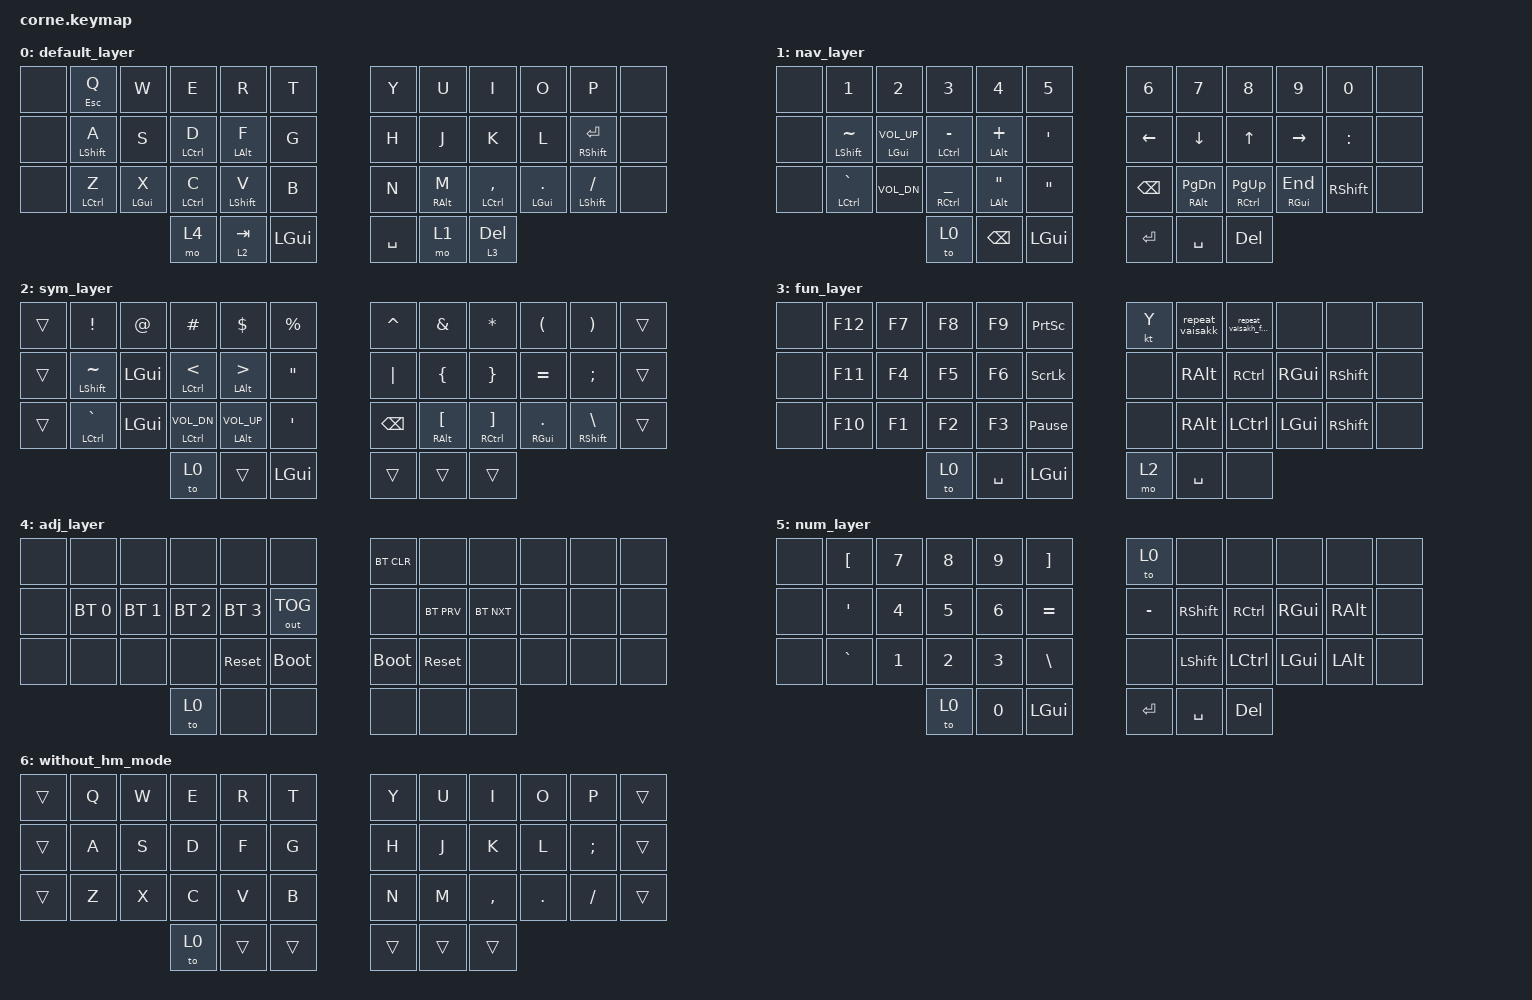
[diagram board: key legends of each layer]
/*
 * Copyright (c) 2020 The ZMK Contributors
 *
 * SPDX-License-Identifier: MIT
 */

#include <behaviors.dtsi>
#include <dt-bindings/zmk/bt.h>
#include <dt-bindings/zmk/keys.h>
#include <dt-bindings/zmk/outputs.h>

#define BASE 0
#define NAV 1
#define NUM 2
#define FUN 3
#define ADJ 4

&caps_word { continue-list = <UNDERSCORE MINUS BACKSPACE N0 N1 N2 N3 N4 N5 N6 N7 N8 N9>; };

/ {
    behaviors {
        hm: homerow_mods {
            compatible = "zmk,behavior-hold-tap";
            label = "HOMEROW_MODS";
            #binding-cells = <2>;
            tapping-term-ms = <220>;
            quick_tap_ms = <0>;
            flavor = "tap-preferred";
            bindings = <&kp>, <&kp>;

            quick-tap-ms = <200>;
        };

        td_home: td_home {
            compatible = "zmk,behavior-tap-dance";
            label = "TD_HOME";
            #binding-cells = <0>;
            bindings = <&kp DOUBLE_QUOTES>, <&kp HOME>;
        };

        td_l12: td_l12 {
            compatible = "zmk,behavior-tap-dance";
            label = "TD_L12";
            #binding-cells = <0>;
            bindings = <&mo 2>, <&mo 1>;

            tapping-term-ms = <250>;
        };
    };

    combos {
        compatible = "zmk,combos";

        jkEsc {
            bindings = <&kp ESC>;
            key-positions = <19 20>;
        };

        to_fun_layer {
            bindings = <&to 3>;
            key-positions = <37 40>;
        };

        combo_to_nav {
            bindings = <&mo 1>;
            key-positions = <13 14>;
        };

        tosymlayer {
            bindings = <&mo 0>;
            key-positions = <38 39>;
        };

        backspace {
            bindings = <&kp BACKSPACE>;
            key-positions = <38 30>;
        };

        combo_to_sym_right {
            bindings = <&mo 2>;
            key-positions = <21 22>;
        };

        combo_to_sym_mid_r {
            bindings = <&mo 2>;
            key-positions = <21 20>;
        };

        combo_to_nav_mid_l {
            bindings = <&mo 1>;
            key-positions = <21 20>;
        };

        menukey {
            bindings = <&kp K_APPLICATION>;
            key-positions = <7 8>;
        };
    };

    macros {
        repeat_vaisakk: repeat_vaisakk {
            compatible = "zmk,behavior-macro";
            #binding-cells = <0>;
            bindings = <&kp V &kp A &kp I &kp S &kp A &kp K &kp H &kp SPACE &kp K &kp M &kp SPACE &kp V &kp A &kp I &kp S &kp A &kp K &kp H &kp SPACE &kp K &kp M &kp SPACE &kp V &kp A &kp I &kp S &kp A &kp K &kp H &kp SPACE &kp K &kp M &kp SPACE &kp V &kp A &kp I &kp S &kp A &kp K &kp H &kp SPACE &kp K &kp M &kp SPACE &kp V &kp A &kp I &kp S &kp A &kp K &kp H &kp SPACE &kp K &kp M &kp SPACE &kp V &kp A &kp I &kp S &kp A &kp K &kp H &kp SPACE &kp K &kp M &kp SPACE>;
            label = "REPEAT_VAISAKK";
            wait-ms = <60000>;
        };

        repeat_vaisakh_fast: repeat_vaisakh_fast {
            compatible = "zmk,behavior-macro";
            #binding-cells = <0>;
            bindings = <&kp V &kp A &kp I &kp S &kp A &kp K &kp H &kp SPACE &kp K &kp M &kp SPACE &kp V &kp A &kp I &kp S &kp A &kp K &kp H &kp SPACE &kp K &kp M &kp SPACE &kp V &kp A &kp I &kp S &kp A &kp K &kp H &kp SPACE &kp K &kp M &kp SPACE &kp V &kp A &kp I &kp S &kp A &kp K &kp H &kp SPACE &kp K &kp M &kp SPACE &kp V &kp A &kp I &kp S &kp A &kp K &kp H &kp SPACE &kp K &kp M &kp SPACE &kp V &kp A &kp I &kp S &kp A &kp K &kp H &kp SPACE &kp K &kp M &kp SPACE>;
            label = "REPEAT_VAISAKH_FAST";
            wait-ms = <1000>;
        };
    };

    keymap {
        compatible = "zmk,keymap";

        default_layer {
            bindings = <
&none  &mt ESCAPE Q      &kp W       &kp E        &kp R           &kp T       &kp Y      &kp U            &kp I            &kp O         &kp P                  &none
&none  &hm LEFT_SHIFT A  &kp S       &hm LCTRL D  &hm LEFT_ALT F  &kp G       &kp H      &kp J            &kp K            &kp L         &hm RIGHT_SHIFT ENTER  &none
&none  &hm LCTRL Z       &hm LGUI X  &hm LCTRL C  &hm LSHFT V     &kp B       &kp N      &hm RIGHT_ALT M  &hm LCTRL COMMA  &hm LGUI DOT  &hm LEFT_SHIFT FSLH    &none
                                     &mo 4        &lt 2 TAB       &kp LGUI    &kp SPACE  &mo 1            &lt 3 DEL
            >;
        };

        nav_layer {
            bindings = <
&none  &kp NUMBER_1      &kp NUMBER_2       &kp NUMBER_3          &kp NUMBER_4            &kp NUMBER_5         &kp NUMBER_6   &kp NUMBER_7         &kp NUMBER_8     &kp NUMBER_9  &kp NUMBER_0     &none
&none  &hm LSHIFT TILDE  &hm LGUI C_VOL_UP  &hm LCTRL MINUS       &hm LALT PLUS           &kp SQT              &kp LEFT       &kp DOWN             &kp UP           &kp RIGHT     &kp COLON        &none
&none  &hm LCTRL GRAVE   &kp C_VOL_DN       &hm RCTRL UNDERSCORE  &hm LALT DOUBLE_QUOTES  &kp DOUBLE_QUOTES    &kp BACKSPACE  &hm RIGHT_ALT PG_DN  &hm RCTRL PG_UP  &hm RGUI END  &kp RIGHT_SHIFT  &none
                                            &to 0                 &kp BACKSPACE           &kp LEFT_GUI         &kp ENTER      &kp SPACE            &kp DEL
            >;
        };

        sym_layer {
            bindings = <
&trans  &kp EXCLAMATION       &kp AT_SIGN   &kp HASH             &kp DOLLAR             &kp PERCENT          &kp CARET      &kp AMPERSAND               &kp ASTERISK             &kp LEFT_PARENTHESIS  &kp RIGHT_PARENTHESIS  &trans
&trans  &hm LEFT_SHIFT TILDE  &kp LGUI      &hm LCTRL LESS_THAN  &hm LALT GREATER_THAN  &kp DOUBLE_QUOTES    &kp PIPE       &kp LEFT_BRACE              &kp RIGHT_BRACE          &kp EQUAL             &kp SEMI               &trans
&trans  &hm LCTRL GRAVE       &kp LEFT_GUI  &hm LCTRL C_VOL_DN   &hm LEFT_ALT C_VOL_UP  &kp SQT              &kp BACKSPACE  &hm RIGHT_ALT LEFT_BRACKET  &hm RCTRL RIGHT_BRACKET  &hm RIGHT_GUI PERIOD  &hm RSHIFT BACKSLASH   &trans
                                            &to 0                &trans                 &kp LEFT_GUI         &trans         &trans                      &trans
            >;
        };

        fun_layer {
            bindings = <
&none  &kp F12  &kp F7  &kp F8  &kp F9     &kp PSCRN          &kt Y  &repeat_vaisakk  &repeat_vaisakh_fast  &none     &none       &none
&none  &kp F11  &kp F4  &kp F5  &kp F6     &kp SLCK           &none  &kp RIGHT_ALT    &kp RCTRL             &kp RGUI  &kp RSHIFT  &none
&none  &kp F10  &kp F1  &kp F2  &kp F3     &kp PAUSE_BREAK    &none  &kp RALT         &kp LCTRL             &kp LGUI  &kp RSHIFT  &none
                        &to 0   &kp SPACE  &kp LEFT_GUI       &mo 2  &kp SPACE        &none
            >;
        };

        adj_layer {
            bindings = <
&none  &none         &none         &none         &none         &none           &bt BT_CLR   &none       &none       &none  &none  &none
&none  &bt BT_SEL 0  &bt BT_SEL 1  &bt BT_SEL 2  &bt BT_SEL 3  &out OUT_TOG    &none        &bt BT_PRV  &bt BT_NXT  &none  &none  &none
&none  &none         &none         &none         &sys_reset    &bootloader     &bootloader  &sys_reset  &none       &none  &none  &none
                                   &to 0         &none         &none           &none        &none       &none
            >;
        };

        num_layer {
            bindings = <
&none  &kp LBKT   &kp N7  &kp N8  &kp N9  &kp RBKT        &to 0      &none       &none      &none     &none     &none
&none  &kp SQT    &kp N4  &kp N5  &kp N6  &kp EQUAL       &kp MINUS  &kp RSHIFT  &kp RCTRL  &kp RGUI  &kp RALT  &none
&none  &kp GRAVE  &kp N1  &kp N2  &kp N3  &kp BSLH        &none      &kp LSHFT   &kp LCTRL  &kp LGUI  &kp LALT  &none
                          &to 0   &kp N0  &kp LEFT_GUI    &kp RET    &kp SPACE   &kp DEL
            >;
        };

        without_hm_mode {
            bindings = <
&trans  &kp Q  &kp W  &kp E  &kp R   &kp T     &kp Y   &kp U   &kp I      &kp O    &kp P     &trans
&trans  &kp A  &kp S  &kp D  &kp F   &kp G     &kp H   &kp J   &kp K      &kp L    &kp SEMI  &trans
&trans  &kp Z  &kp X  &kp C  &kp V   &kp B     &kp N   &kp M   &kp COMMA  &kp DOT  &kp FSLH  &trans
                      &to 0  &trans  &trans    &trans  &trans  &trans
            >;
        };
    };
};
